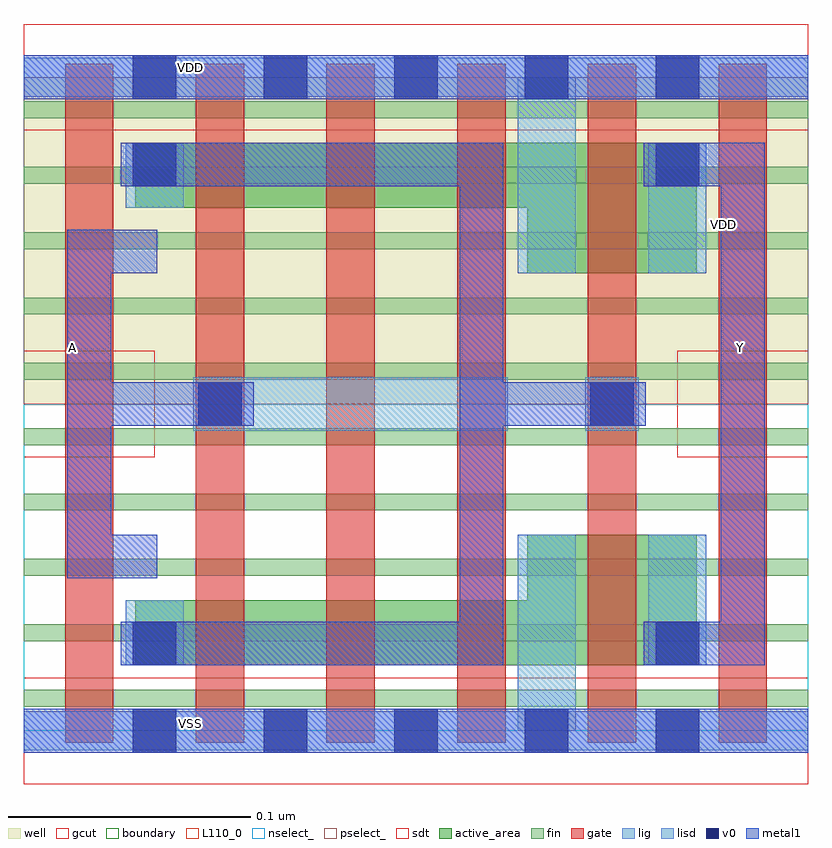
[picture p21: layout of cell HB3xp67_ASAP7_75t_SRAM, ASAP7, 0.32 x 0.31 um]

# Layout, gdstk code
import gdstk
lib = gdstk.Library(unit=1e-6, precision=2.5e-10)
def R(c, l, rs):  # rectangles x0, y0, x1, y1
    for r in rs: c.add(gdstk.rectangle(r[:2], r[2:], *l))
def A(c, l, x, y, w, h, nx, ny, dx, dy):  # array of equal rectangles
    R(c, l, [(x+i*dx, y+j*dy, x+i*dx+w, y+j*dy+h) for i in range(nx) for j in range(ny)])
def P(c, l, *ps):  # polygons
    for p in ps: c.add(gdstk.Polygon(p, *l))
well = (1, 0)
fin = (2, 0)
gate = (7, 0)
gcut = (10, 0)
active_area = (11, 0)
nselect_ = (12, 0)
pselect_ = (13, 0)
lig = (16, 0)
lisd = (17, 0)
v0 = (18, 0)
metal1 = (19, 0)
sdt = (88, 0)
boundary = (100, 0)
L110_0 = (110, 0)

hb3xp67_asap7_75t_sram = lib.new_cell('HB3xp67_ASAP7_75t_SRAM')
R(hb3xp67_asap7_75t_sram, well, [(0,0.135,0.324,0.27)])
A(hb3xp67_asap7_75t_sram, fin, 0, 0.01, 0.324, 0.007, 1, 10, 0, 0.027)
A(hb3xp67_asap7_75t_sram, gate, 0.017, -0.005, 0.02, 0.2805, 6, 1, 0.054, 0)
R(hb3xp67_asap7_75t_sram, gcut, [(0,-0.022,0.324,0.022), (0,0.113,0.054,0.157), (0.27,0.113,0.324,0.157), (0,0.248,0.324,0.292)])
P(hb3xp67_asap7_75t_sram, active_area, [(0.278,0.081),(0.208,0.081),(0.208,0.054),(0.046,0.054),(0.046,0.027),(0.278,0.027)],
  [(0.278,0.243),(0.046,0.243),(0.046,0.216),(0.208,0.216),(0.208,0.189),(0.278,0.189)])
R(hb3xp67_asap7_75t_sram, nselect_, [(0,0,0.324,0.135)])
R(hb3xp67_asap7_75t_sram, pselect_, [(0,0.135,0.324,0.27)])
R(hb3xp67_asap7_75t_sram, lig, [(0,-0.008,0.324,0.008), (0.07,0.124,0.2,0.146), (0.232,0.124,0.254,0.146), (0,0.262,0.324,0.278)])
R(hb3xp67_asap7_75t_sram, lisd, [(0.204,0,0.228,0.081), (0.042,0.027,0.066,0.054), (0.258,0.027,0.282,0.081), (0.204,0.189,0.228,0.27), (0.258,0.189,0.282,0.243), (0.042,0.216,0.066,0.243)])
A(hb3xp67_asap7_75t_sram, v0, 0.045, -0.009, 0.018, 0.018, 5, 2, 0.054, 0.27)
R(hb3xp67_asap7_75t_sram, v0, [(0.045,0.027,0.063,0.045), (0.261,0.027,0.279,0.045), (0.072,0.126,0.09,0.144), (0.234,0.126,0.252,0.144), (0.045,0.225,0.063,0.243), (0.261,0.225,0.279,0.243)])
R(hb3xp67_asap7_75t_sram, metal1, [(0,-0.009,0.324,0.009), (0,0.261,0.324,0.279)])
P(hb3xp67_asap7_75t_sram, metal1, [(0.306,0.243),(0.256,0.243),(0.256,0.225),(0.288,0.225),(0.288,0.045),(0.256,0.045),(0.256,0.027),(0.306,0.027)],
  [(0.257,0.144),(0.198,0.144),(0.198,0.243),(0.04,0.243),(0.04,0.225),(0.18,0.225),(0.18,0.045),(0.04,0.045),(0.04,0.027),(0.198,0.027),(0.198,0.126),(0.257,0.126)],
  [(0.095,0.144),(0.036,0.144),(0.036,0.189),(0.055,0.189),(0.055,0.207),(0.018,0.207),(0.018,0.063),(0.055,0.063),(0.055,0.081),(0.036,0.081),(0.036,0.126),(0.095,0.126)])
R(hb3xp67_asap7_75t_sram, sdt, [(0.042,0.027,0.066,0.054), (0.204,0.027,0.228,0.081), (0.258,0.027,0.282,0.081), (0.204,0.189,0.228,0.243), (0.258,0.189,0.282,0.243), (0.042,0.216,0.066,0.243)])
R(hb3xp67_asap7_75t_sram, boundary, [(0,0,0.324,0.27)])
R(hb3xp67_asap7_75t_sram, L110_0, [(0,0,0.324,0.27)])
hb3xp67_asap7_75t_sram.add(gdstk.Label('Y', (0.296,0.1585), layer=19, texttype=251))
hb3xp67_asap7_75t_sram.add(gdstk.Label('A', (0.02,0.1585), layer=19, texttype=251))
hb3xp67_asap7_75t_sram.add(gdstk.Label('VSS', (0.069,0.003), layer=19, texttype=251))
hb3xp67_asap7_75t_sram.add(gdstk.Label('VDD', (0.069,0.274), layer=19, texttype=251))
hb3xp67_asap7_75t_sram.add(gdstk.Label('VDD', (0.289,0.209), layer=1, texttype=251))
hb3xp67_asap7_75t_sram.add(gdstk.Label('VSS', (0.358,0.208), layer=3, texttype=251))

lib.write_gds('HB3xp67_ASAP7_75t_SRAM.gds')
